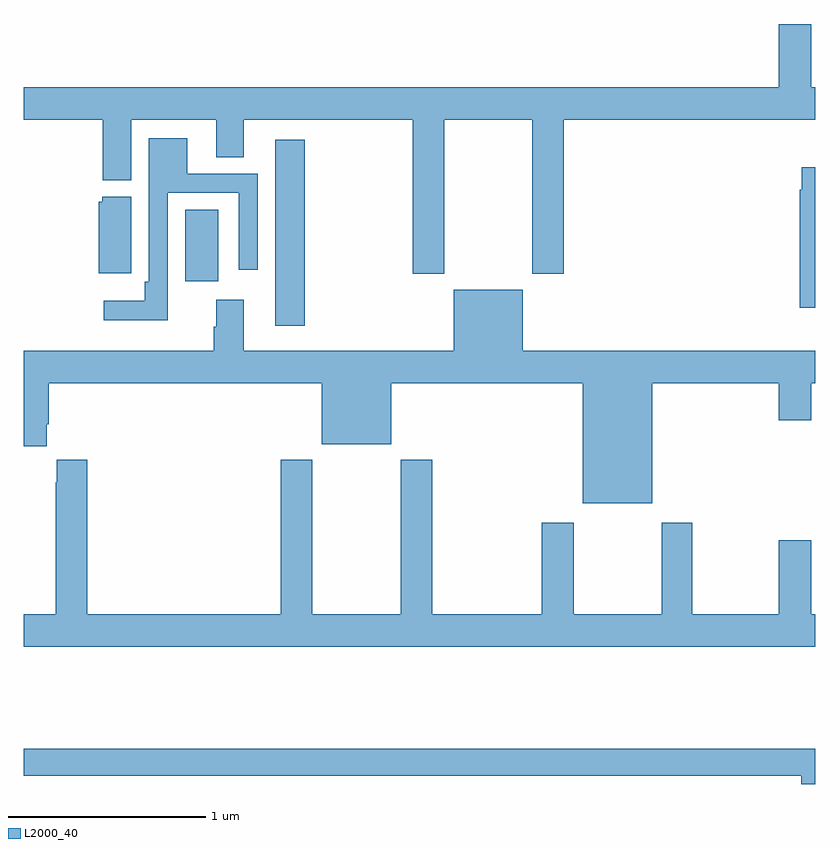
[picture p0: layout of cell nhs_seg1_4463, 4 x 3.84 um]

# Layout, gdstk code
import gdstk
lib = gdstk.Library(unit=1e-6, precision=1e-09)
def R(c, l, rs):  # rectangles x0, y0, x1, y1
    for r in rs: c.add(gdstk.rectangle(r[:2], r[2:], *l))
def P(c, l, *ps):  # polygons
    for p in ps: c.add(gdstk.Polygon(p, *l))
L2000_40 = (2000, 40)

nhs_seg1_4463 = lib.new_cell('nhs_seg1_4463')
R(nhs_seg1_4463, L2000_40, [(354.272,566.673,354.419,567.613), (353.816,566.898,353.983,567.26)])
P(nhs_seg1_4463, L2000_40, [(355.125,567.716),(355.57,567.716),(355.57,566.937),(355.73,566.937),(355.73,567.716),(357,567.716),(357,567.88),(356.98,567.88),(356.98,568.199),(356.816,568.199),(356.816,567.88),(353,567.88),(353,567.716),(353.399,567.716),(353.399,567.41),(353.542,567.41),(353.542,567.716),(353.972,567.716),(353.972,567.526),(354.112,567.526),(354.112,567.716),(354.965,567.716),(354.965,566.937),(355.125,566.937)],
  [(353.727,567.345),(354.087,567.345),(354.087,566.958),(354.183,566.958),(354.183,567.441),(353.827,567.441),(353.827,567.622),(353.631,567.622),(353.631,566.896),(353.611,566.896),(353.611,566.8),(353.403,566.8),(353.403,566.702),(353.727,566.702)],
  [(357,567.475),(356.931,567.475),(356.931,567.362),(356.923,567.362),(356.923,566.765),(357,566.765)],
  [(353.542,567.325),(353.397,567.325),(353.397,567.3),(353.378,567.3),(353.378,566.939),(353.542,566.939)],
  [(356.176,566.384),(356.816,566.384),(356.816,566.196),(356.98,566.196),(356.98,566.384),(357,566.384),(357,566.548),(355.522,566.548),(355.522,566.857),(355.172,566.857),(355.172,566.548),(354.112,566.548),(354.112,566.806),(353.972,566.806),(353.972,566.669),(353.96,566.669),(353.96,566.548),(353,566.548),(353,566.064),(353.116,566.064),(353.116,566.176),(353.126,566.176),(353.126,566.384),(354.506,566.384),(354.506,566.075),(354.856,566.075),(354.856,566.384),(355.826,566.384),(355.826,565.778),(356.176,565.778)],
  [(357,565.216),(356.98,565.216),(356.98,565.591),(356.816,565.591),(356.816,565.216),(356.379,565.216),(356.379,565.678),(356.224,565.678),(356.224,565.216),(355.779,565.216),(355.779,565.678),(355.619,565.678),(355.619,565.216),(355.064,565.216),(355.064,565.996),(354.904,565.996),(354.904,565.216),(354.459,565.216),(354.459,565.996),(354.299,565.996),(354.299,565.216),(353.321,565.216),(353.321,565.996),(353.167,565.996),(353.167,565.883),(353.161,565.883),(353.161,565.216),(353,565.216),(353,565.052),(357,565.052)],
  [(357,564.536),(353,564.536),(353,564.4),(356.93,564.4),(356.93,564.358),(357,564.358)])

lib.write_gds('nhs_seg1_4463.gds')
